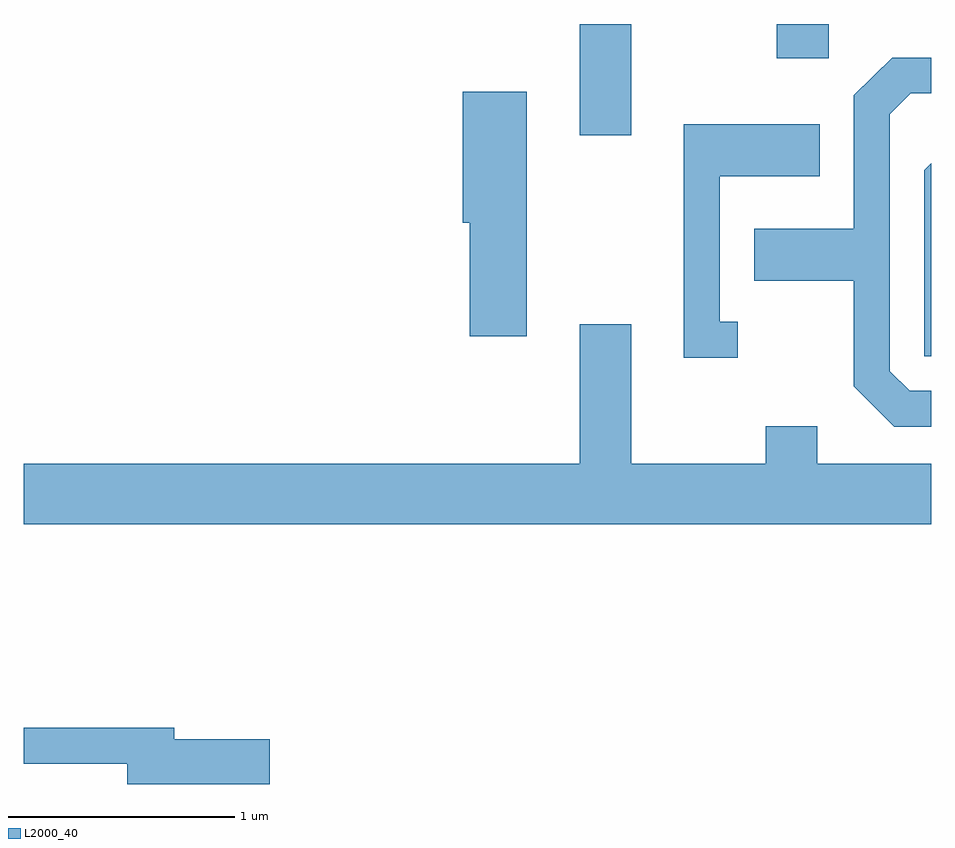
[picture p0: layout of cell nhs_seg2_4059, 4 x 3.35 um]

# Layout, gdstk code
import gdstk
lib = gdstk.Library(unit=1e-6, precision=1e-09)
def R(c, l, rs):  # rectangles x0, y0, x1, y1
    for r in rs: c.add(gdstk.rectangle(r[:2], r[2:], *l))
def P(c, l, *ps):  # polygons
    for p in ps: c.add(gdstk.Polygon(p, *l))
L2000_40 = (2000, 40)

nhs_seg2_4059 = lib.new_cell('nhs_seg2_4059')
R(nhs_seg2_4059, L2000_40, [(306.061,1103.311,306.289,1103.802), (306.931,1103.651,307.159,1103.802)])
P(nhs_seg2_4059, L2000_40, [(307.611,1102.184),(307.517,1102.184),(307.429,1102.272),(307.429,1103.404),(307.522,1103.496),(307.611,1103.496),(307.611,1103.654),(307.439,1103.654),(307.271,1103.487),(307.271,1102.899),(306.831,1102.899),(306.831,1102.671),(307.271,1102.671),(307.271,1102.204),(307.449,1102.026),(307.611,1102.026)],
  [(305.829,1103.504),(305.546,1103.504),(305.546,1102.926),(305.576,1102.926),(305.576,1102.426),(305.829,1102.426)],
  [(306.758,1102.489),(306.679,1102.489),(306.679,1103.131),(307.119,1103.131),(307.119,1103.359),(306.521,1103.359),(306.521,1102.331),(306.758,1102.331)],
  [(307.611,1103.187),(307.581,1103.157),(307.581,1102.336),(307.611,1102.336)],
  [(307.611,1101.864),(307.109,1101.864),(307.109,1102.029),(306.881,1102.029),(306.881,1101.864),(306.289,1101.864),(306.289,1102.479),(306.061,1102.479),(306.061,1101.864),(303.611,1101.864),(303.611,1101.596),(307.611,1101.596)],
  [(304.694,1100.649),(304.274,1100.649),(304.274,1100.699),(303.611,1100.699),(303.611,1100.541),(304.066,1100.541),(304.066,1100.451),(304.694,1100.451)])

lib.write_gds('nhs_seg2_4059.gds')
